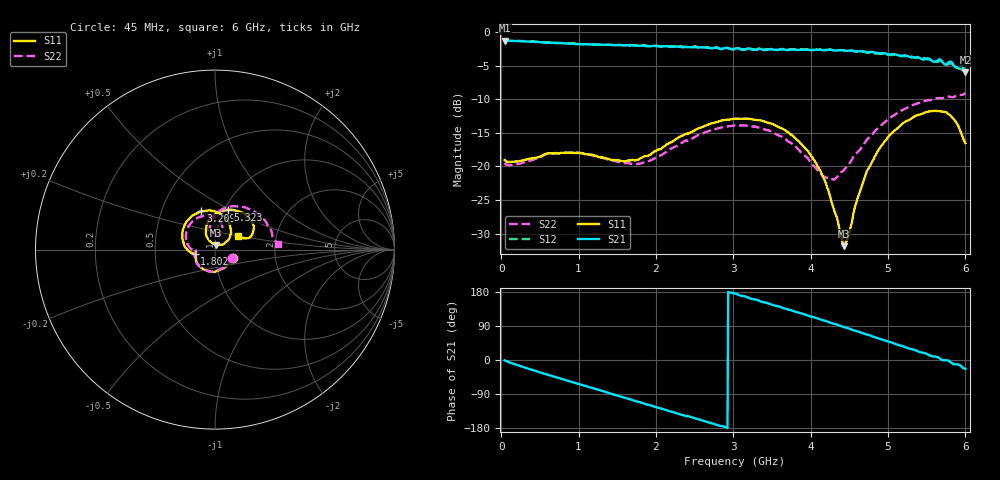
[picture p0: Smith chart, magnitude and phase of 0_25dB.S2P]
! C:\Users\Aljaz\OneDrive - Univerza v Ljubljani\DOKTORAT\NOVI SA\Slabilec PE43711B\meritve\0_25dB.S2P
! Touchstone 1.1 file saved by VNA.EXE V1.65 (www.ke5fx.com/gpib/readme.htm)
! 2. 04. 2022 19:08:15
!  Source: HP8510C.07.14: Aug 26  1998
!  Min freq: 4.500000E+007 Hz
!  Max freq: 6.000000E+009 Hz
!  Points: 801
!  Params: S11 S21 S12 S22
# GHZ S DB R 50
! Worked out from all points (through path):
!   801 points, 45 MHz to 6 GHz, reference 50 ohm
!   highest |S21| = -1.28 dB at 52.44 MHz (marker M1); lowest = -6.0 dB at 6 GHz (marker M2)
!   group delay of S21, straight-line fit = 173 ps
!   lowest |S11| = -31.9 dB at 4.429 GHz (marker M3), VSWR 1.05, Z = 50.6 + j2.5 ohm
!   |S11| at or under -10 dB: start of sweep to end of sweep
!   |S22| runs from -22.0 to -9.1 dB; largest |S21 - S12| = 0.038
!   S11 on the Smith chart (normalised r, x): 45 MHz: 1.22, -0.11; 1.802 GHz: 0.80, -0.04; 3.209 GHz: 0.79, +0.35; 5.323 GHz: 1.04, +0.48; 6 GHz: 1.28, +0.20
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0.045  -19.04 -23.5  -1.30 -0.9  -1.26 -0.9  -19.48 -25.2
0.05244375  -19.12 -22.7  -1.28 -1.7  -1.25 -1.7  -19.60 -24.3
0.5288437  -18.40 -85.5  -1.52 -34.4  -1.49 -34.3  -18.46 -90.4
1.042463  -18.03 -140.6  -1.81 -65.8  -1.81 -65.9  -18.01 -146.9
1.407206  -18.97 -161.7  -1.87 -88.2  -1.88 -87.9  -19.04 -170.1
1.801725  -18.77 -169.1  -2.02 -112.0  -2.03 -111.4  -19.53 -176.5
2.032481  -17.46 -172.3  -2.11 -126.5  -2.05 -126.2  -18.44 -178.2
2.523769  -14.48 162.8  -2.25 -155.1  -2.17 -155.8  -15.47 161.8
3.0225  -12.88 125.2  -2.47 175.7  -2.55 175.2  -13.91 127.3
3.208594  -12.89 109.9  -2.44 163.3  -2.52 164.0  -13.97 113.4
3.662663  -14.56 71.5  -2.60 135.9  -2.55 136.4  -15.83 81.3
4.019963  -18.63 43.0  -2.70 113.9  -2.58 113.4  -19.65 68.7
4.161394  -21.58 35.4  -2.71 104.6  -2.63 104.3  -21.44 74.6
4.27305  -25.43 32.6  -2.68 97.1  -2.65 97.0  -21.90 85.2
4.429369  -31.86 75.7  -2.76 86.8  -2.73 86.4  -20.56 100.6
4.481475  -30.65 95.8  -2.79 84.1  -2.81 83.2  -19.90 101.9
4.719675  -20.90 122.2  -3.01 67.3  -3.04 67.2  -16.12 99.1
5.009981  -15.48 101.1  -3.34 48.2  -3.38 48.5  -12.90 80.5
5.322619  -12.69 72.2  -3.76 27.7  -3.72 27.6  -10.84 55.5
5.746912  -11.94 32.0  -4.86 -0.7  -4.71 -2.1  -9.63 20.2
5.8809  -13.41 20.2  -5.28 -11.2  -5.26 -12.6  -9.48 10.7
6  -16.52 30.0  -5.99 -23.2  -6.08 -21.6  -9.09 4.7
